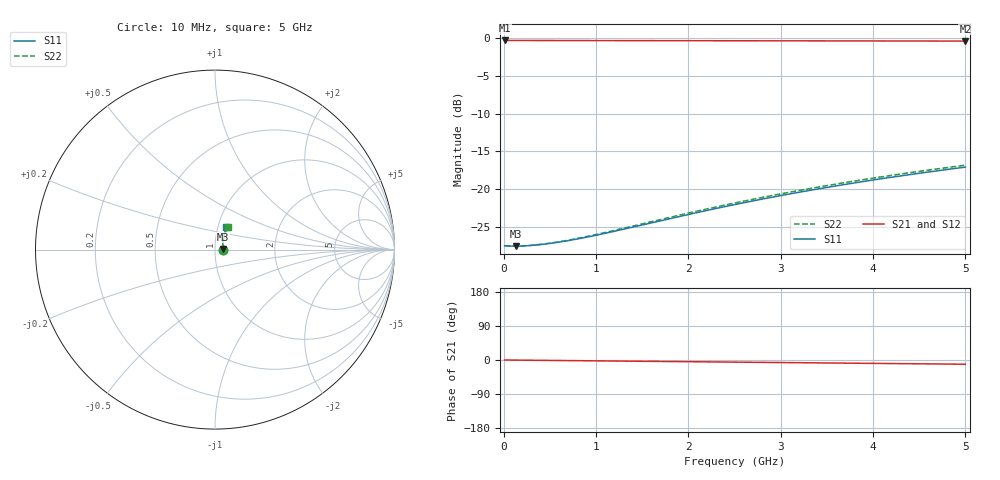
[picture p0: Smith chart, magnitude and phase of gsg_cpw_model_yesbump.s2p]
# HZ S RI R 50
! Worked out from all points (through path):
!   500 points, 10 MHz to 5 GHz, reference 50 ohm
!   highest |S21| = -0.38 dB at 10 MHz (marker M1); lowest = -0.5 dB at 5 GHz (marker M2)
!   group delay of S21, straight-line fit = 6.19 ps
!   lowest |S11| = -27.5 dB at 130 MHz (marker M3), VSWR 1.09, Z = 54.4 + j0.336 ohm
!   |S11| at or under -10 dB: start of sweep to end of sweep
!   |S22| runs from -27.5 to -16.8 dB; largest |S21 - S12| = 0
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1e7  0.0425 0.000203  0.9575 -0.000426  0.9575 -0.000426  0.0425 0.000212
1.3e8  0.0422 0.00308  0.9571 -0.00512  0.9571 -0.00512  0.0422 0.00316
2e8  0.0421 0.00492  0.957 -0.0077  0.957 -0.0077  0.0422 0.00502
2.8e8  0.0421 0.00703  0.9569 -0.0106  0.9569 -0.0106  0.0422 0.00716
3.6e8  0.0421 0.00911  0.9569 -0.0136  0.9569 -0.0136  0.0422 0.00927
4.5e8  0.0422 0.0115  0.9568 -0.017  0.9568 -0.017  0.0423 0.0116
5.4e8  0.0422 0.0138  0.9567 -0.0203  0.9567 -0.0203  0.0424 0.014
6.4e8  0.0423 0.0164  0.9565 -0.024  0.9565 -0.024  0.0425 0.0166
7.4e8  0.0424 0.0189  0.9564 -0.0278  0.9564 -0.0278  0.0427 0.0192
8.5e8  0.0426 0.0218  0.9562 -0.0319  0.9562 -0.0319  0.0429 0.0221
9.9e8  0.0428 0.0254  0.9559 -0.0371  0.9559 -0.0371  0.0432 0.0258
1.16e9  0.0431 0.0297  0.9555 -0.0434  0.9555 -0.0434  0.0436 0.0302
1.68e9  0.0444 0.043  0.9539 -0.0628  0.9539 -0.0628  0.0453 0.0437
2.12e9  0.0458 0.0542  0.9521 -0.0791  0.9521 -0.0791  0.0473 0.055
2.51e9  0.0473 0.0641  0.9502 -0.0935  0.9502 -0.0935  0.0494 0.0649
2.92e9  0.0492 0.0744  0.9478 -0.1086  0.9478 -0.1086  0.052 0.0753
3.34e9  0.0514 0.0849  0.945 -0.1239  0.945 -0.1239  0.055 0.0858
3.75e9  0.0538 0.0951  0.9419 -0.1388  0.9419 -0.1388  0.0584 0.0959
4.17e9  0.0565 0.1054  0.9384 -0.1539  0.9384 -0.1539  0.0622 0.1062
4.61e9  0.0597 0.116  0.9344 -0.1696  0.9344 -0.1696  0.0666 0.1167
4.89e9  0.0619 0.1228  0.9316 -0.1795  0.9316 -0.1795  0.0696 0.1233
5e9  0.0628 0.1254  0.9305 -0.1833  0.9305 -0.1833  0.0708 0.1259
